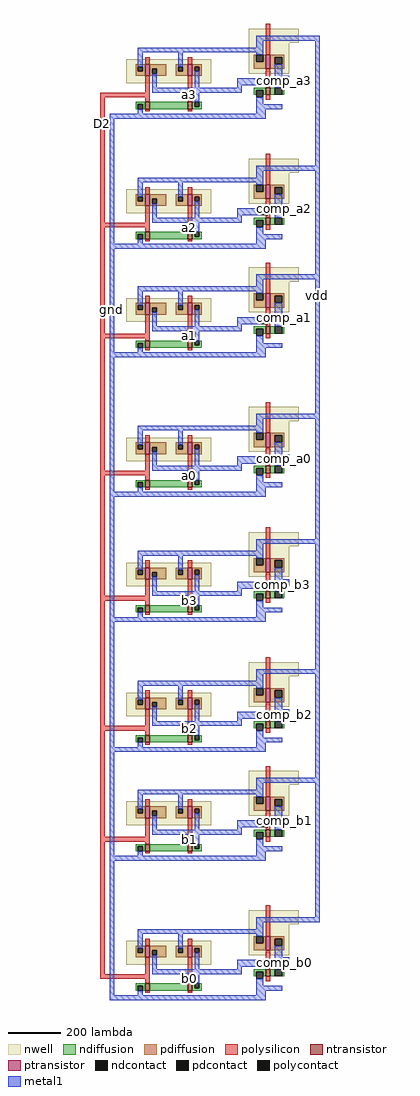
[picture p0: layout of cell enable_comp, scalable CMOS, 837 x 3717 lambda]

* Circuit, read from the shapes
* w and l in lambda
.subckt enable_comp D2 a0 a1 a2 a3 b0 b1 b2 b3 comp_a0 comp_a1 comp_a2 comp_a3 comp_b0 comp_b1 comp_b2 comp_b3 gnd vdd
M1 n1 D2 gnd VSUBS nfet w=27 l=18
M2 n2 D2 gnd VSUBS nfet w=27 l=18
M3 n3 D2 gnd VSUBS nfet w=27 l=18
M4 n4 D2 gnd VSUBS nfet w=27 l=18
M5 n5 D2 gnd VSUBS nfet w=27 l=18
M6 n6 D2 gnd VSUBS nfet w=27 l=18
M7 n7 D2 gnd VSUBS nfet w=27 l=18
M8 n8 D2 gnd VSUBS nfet w=27 l=18
M9 n9 b0 n1 VSUBS nfet w=27 l=18
M10 n10 b1 n2 VSUBS nfet w=27 l=18
M11 n11 b2 n3 VSUBS nfet w=27 l=18
M12 n12 b3 n4 VSUBS nfet w=27 l=18
M13 n13 a0 n5 VSUBS nfet w=27 l=18
M14 n14 a1 n6 VSUBS nfet w=27 l=18
M15 n15 a2 n7 VSUBS nfet w=27 l=18
M16 n16 a3 n8 VSUBS nfet w=27 l=18
M17 comp_b0 n9 gnd VSUBS nfet w=27 l=18
M18 comp_b1 n10 gnd VSUBS nfet w=27 l=18
M19 comp_b2 n11 gnd VSUBS nfet w=27 l=18
M20 comp_b3 n12 gnd VSUBS nfet w=27 l=18
M21 comp_a0 n13 gnd VSUBS nfet w=27 l=18
M22 comp_a1 n14 gnd VSUBS nfet w=27 l=18
M23 comp_a2 n15 gnd VSUBS nfet w=27 l=18
M24 comp_a3 n16 gnd VSUBS nfet w=27 l=18
M25 n9 D2 vdd n17 pfet w=45 l=18
M26 n10 D2 vdd n18 pfet w=45 l=18
M27 n11 D2 vdd n19 pfet w=45 l=18
M28 n12 D2 vdd n20 pfet w=45 l=18
M29 n13 D2 vdd n21 pfet w=45 l=18
M30 n14 D2 vdd n22 pfet w=45 l=18
M31 n15 D2 vdd n23 pfet w=45 l=18
M32 n16 D2 vdd n24 pfet w=45 l=18
M33 n9 b0 vdd n17 pfet w=45 l=18
M34 n10 b1 vdd n18 pfet w=45 l=18
M35 n11 b2 vdd n19 pfet w=45 l=18
M36 n12 b3 vdd n20 pfet w=45 l=18
M37 n13 a0 vdd n21 pfet w=45 l=18
M38 n14 a1 vdd n22 pfet w=45 l=18
M39 n15 a2 vdd n23 pfet w=45 l=18
M40 n16 a3 vdd n24 pfet w=45 l=18
M41 comp_b0 n9 vdd n25 pfet w=54 l=18
M42 comp_b1 n10 vdd n26 pfet w=54 l=18
M43 comp_b2 n11 vdd n27 pfet w=54 l=18
M44 comp_b3 n12 vdd n28 pfet w=54 l=18
M45 comp_a0 n13 vdd n29 pfet w=54 l=18
M46 comp_a1 n14 vdd n30 pfet w=54 l=18
M47 comp_a2 n15 vdd n31 pfet w=54 l=18
M48 comp_a3 n16 vdd n32 pfet w=54 l=18
.ends

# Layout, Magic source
magic
tech scmos
magscale 9 1
<< nwell >>
rect 46 -126 67 -120
rect -6 -143 30 -133
rect 46 -138 63 -126
rect 46 -139 53 -138
rect 55 -139 63 -138
rect 46 -181 67 -175
rect -6 -198 30 -188
rect 46 -193 63 -181
rect 46 -194 53 -193
rect 55 -194 63 -193
rect 46 -227 67 -221
rect -6 -244 30 -234
rect 46 -239 63 -227
rect 46 -240 53 -239
rect 55 -240 63 -239
rect 46 -286 67 -280
rect -6 -303 30 -293
rect 46 -298 63 -286
rect 46 -299 53 -298
rect 55 -299 63 -298
rect 46 -339 67 -333
rect -6 -356 30 -346
rect 46 -351 63 -339
rect 46 -352 53 -351
rect 55 -352 63 -351
rect 46 -394 67 -388
rect -6 -411 30 -401
rect 46 -406 63 -394
rect 46 -407 53 -406
rect 55 -407 63 -406
rect 46 -440 67 -434
rect -6 -457 30 -447
rect 46 -452 63 -440
rect 46 -453 53 -452
rect 55 -453 63 -452
rect 46 -499 67 -493
rect -6 -516 30 -506
rect 46 -511 63 -499
rect 46 -512 53 -511
rect 55 -512 63 -511
<< ntransistor >>
rect 53 -148 55 -145
rect 2 -154 4 -151
rect 20 -154 22 -151
rect 53 -203 55 -200
rect 2 -209 4 -206
rect 20 -209 22 -206
rect 53 -249 55 -246
rect 2 -255 4 -252
rect 20 -255 22 -252
rect 53 -308 55 -305
rect 2 -314 4 -311
rect 20 -314 22 -311
rect 53 -361 55 -358
rect 2 -367 4 -364
rect 20 -367 22 -364
rect 53 -416 55 -413
rect 2 -422 4 -419
rect 20 -422 22 -419
rect 53 -462 55 -459
rect 2 -468 4 -465
rect 20 -468 22 -465
rect 53 -521 55 -518
rect 2 -527 4 -524
rect 20 -527 22 -524
<< ptransistor >>
rect 2 -140 4 -135
rect 20 -140 22 -135
rect 53 -137 55 -131
rect 2 -195 4 -190
rect 20 -195 22 -190
rect 53 -192 55 -186
rect 2 -241 4 -236
rect 20 -241 22 -236
rect 53 -238 55 -232
rect 2 -300 4 -295
rect 20 -300 22 -295
rect 53 -297 55 -291
rect 2 -353 4 -348
rect 20 -353 22 -348
rect 53 -350 55 -344
rect 2 -408 4 -403
rect 20 -408 22 -403
rect 53 -405 55 -399
rect 2 -454 4 -449
rect 20 -454 22 -449
rect 53 -451 55 -445
rect 2 -513 4 -508
rect 20 -513 22 -508
rect 53 -510 55 -504
<< ndiffusion >>
rect 48 -146 53 -145
rect 48 -148 49 -146
rect 52 -148 53 -146
rect 55 -148 57 -145
rect 60 -148 61 -145
rect -2 -152 2 -151
rect -2 -154 -1 -152
rect 1 -154 2 -152
rect 4 -154 20 -151
rect 22 -153 23 -151
rect 25 -153 26 -151
rect 22 -154 26 -153
rect 48 -201 53 -200
rect 48 -203 49 -201
rect 52 -203 53 -201
rect 55 -203 57 -200
rect 60 -203 61 -200
rect -2 -207 2 -206
rect -2 -209 -1 -207
rect 1 -209 2 -207
rect 4 -209 20 -206
rect 22 -208 23 -206
rect 25 -208 26 -206
rect 22 -209 26 -208
rect 48 -247 53 -246
rect 48 -249 49 -247
rect 52 -249 53 -247
rect 55 -249 57 -246
rect 60 -249 61 -246
rect -2 -253 2 -252
rect -2 -255 -1 -253
rect 1 -255 2 -253
rect 4 -255 20 -252
rect 22 -254 23 -252
rect 25 -254 26 -252
rect 22 -255 26 -254
rect 48 -306 53 -305
rect 48 -308 49 -306
rect 52 -308 53 -306
rect 55 -308 57 -305
rect 60 -308 61 -305
rect -2 -312 2 -311
rect -2 -314 -1 -312
rect 1 -314 2 -312
rect 4 -314 20 -311
rect 22 -313 23 -311
rect 25 -313 26 -311
rect 22 -314 26 -313
rect 48 -359 53 -358
rect 48 -361 49 -359
rect 52 -361 53 -359
rect 55 -361 57 -358
rect 60 -361 61 -358
rect -2 -365 2 -364
rect -2 -367 -1 -365
rect 1 -367 2 -365
rect 4 -367 20 -364
rect 22 -366 23 -364
rect 25 -366 26 -364
rect 22 -367 26 -366
rect 48 -414 53 -413
rect 48 -416 49 -414
rect 52 -416 53 -414
rect 55 -416 57 -413
rect 60 -416 61 -413
rect -2 -420 2 -419
rect -2 -422 -1 -420
rect 1 -422 2 -420
rect 4 -422 20 -419
rect 22 -421 23 -419
rect 25 -421 26 -419
rect 22 -422 26 -421
rect 48 -460 53 -459
rect 48 -462 49 -460
rect 52 -462 53 -460
rect 55 -462 57 -459
rect 60 -462 61 -459
rect -2 -466 2 -465
rect -2 -468 -1 -466
rect 1 -468 2 -466
rect 4 -468 20 -465
rect 22 -467 23 -465
rect 25 -467 26 -465
rect 22 -468 26 -467
rect 48 -519 53 -518
rect 48 -521 49 -519
rect 52 -521 53 -519
rect 55 -521 57 -518
rect 60 -521 61 -518
rect -2 -525 2 -524
rect -2 -527 -1 -525
rect 1 -527 2 -525
rect 4 -527 20 -524
rect 22 -526 23 -524
rect 25 -526 26 -524
rect 22 -527 26 -526
<< pdiffusion >>
rect 48 -134 49 -131
rect 52 -134 53 -131
rect -2 -136 2 -135
rect -2 -138 -1 -136
rect 1 -138 2 -136
rect -2 -140 2 -138
rect 4 -137 11 -135
rect 4 -139 5 -137
rect 7 -139 11 -137
rect 4 -140 11 -139
rect 15 -136 20 -135
rect 15 -138 16 -136
rect 18 -138 20 -136
rect 15 -140 20 -138
rect 22 -136 26 -135
rect 22 -138 23 -136
rect 25 -138 26 -136
rect 48 -137 53 -134
rect 55 -132 61 -131
rect 55 -135 57 -132
rect 60 -135 61 -132
rect 55 -137 61 -135
rect 22 -140 26 -138
rect 48 -189 49 -186
rect 52 -189 53 -186
rect -2 -191 2 -190
rect -2 -193 -1 -191
rect 1 -193 2 -191
rect -2 -195 2 -193
rect 4 -192 11 -190
rect 4 -194 5 -192
rect 7 -194 11 -192
rect 4 -195 11 -194
rect 15 -191 20 -190
rect 15 -193 16 -191
rect 18 -193 20 -191
rect 15 -195 20 -193
rect 22 -191 26 -190
rect 22 -193 23 -191
rect 25 -193 26 -191
rect 48 -192 53 -189
rect 55 -187 61 -186
rect 55 -190 57 -187
rect 60 -190 61 -187
rect 55 -192 61 -190
rect 22 -195 26 -193
rect 48 -235 49 -232
rect 52 -235 53 -232
rect -2 -237 2 -236
rect -2 -239 -1 -237
rect 1 -239 2 -237
rect -2 -241 2 -239
rect 4 -238 11 -236
rect 4 -240 5 -238
rect 7 -240 11 -238
rect 4 -241 11 -240
rect 15 -237 20 -236
rect 15 -239 16 -237
rect 18 -239 20 -237
rect 15 -241 20 -239
rect 22 -237 26 -236
rect 22 -239 23 -237
rect 25 -239 26 -237
rect 48 -238 53 -235
rect 55 -233 61 -232
rect 55 -236 57 -233
rect 60 -236 61 -233
rect 55 -238 61 -236
rect 22 -241 26 -239
rect 48 -294 49 -291
rect 52 -294 53 -291
rect -2 -296 2 -295
rect -2 -298 -1 -296
rect 1 -298 2 -296
rect -2 -300 2 -298
rect 4 -297 11 -295
rect 4 -299 5 -297
rect 7 -299 11 -297
rect 4 -300 11 -299
rect 15 -296 20 -295
rect 15 -298 16 -296
rect 18 -298 20 -296
rect 15 -300 20 -298
rect 22 -296 26 -295
rect 22 -298 23 -296
rect 25 -298 26 -296
rect 48 -297 53 -294
rect 55 -292 61 -291
rect 55 -295 57 -292
rect 60 -295 61 -292
rect 55 -297 61 -295
rect 22 -300 26 -298
rect 48 -347 49 -344
rect 52 -347 53 -344
rect -2 -349 2 -348
rect -2 -351 -1 -349
rect 1 -351 2 -349
rect -2 -353 2 -351
rect 4 -350 11 -348
rect 4 -352 5 -350
rect 7 -352 11 -350
rect 4 -353 11 -352
rect 15 -349 20 -348
rect 15 -351 16 -349
rect 18 -351 20 -349
rect 15 -353 20 -351
rect 22 -349 26 -348
rect 22 -351 23 -349
rect 25 -351 26 -349
rect 48 -350 53 -347
rect 55 -345 61 -344
rect 55 -348 57 -345
rect 60 -348 61 -345
rect 55 -350 61 -348
rect 22 -353 26 -351
rect 48 -402 49 -399
rect 52 -402 53 -399
rect -2 -404 2 -403
rect -2 -406 -1 -404
rect 1 -406 2 -404
rect -2 -408 2 -406
rect 4 -405 11 -403
rect 4 -407 5 -405
rect 7 -407 11 -405
rect 4 -408 11 -407
rect 15 -404 20 -403
rect 15 -406 16 -404
rect 18 -406 20 -404
rect 15 -408 20 -406
rect 22 -404 26 -403
rect 22 -406 23 -404
rect 25 -406 26 -404
rect 48 -405 53 -402
rect 55 -400 61 -399
rect 55 -403 57 -400
rect 60 -403 61 -400
rect 55 -405 61 -403
rect 22 -408 26 -406
rect 48 -448 49 -445
rect 52 -448 53 -445
rect -2 -450 2 -449
rect -2 -452 -1 -450
rect 1 -452 2 -450
rect -2 -454 2 -452
rect 4 -451 11 -449
rect 4 -453 5 -451
rect 7 -453 11 -451
rect 4 -454 11 -453
rect 15 -450 20 -449
rect 15 -452 16 -450
rect 18 -452 20 -450
rect 15 -454 20 -452
rect 22 -450 26 -449
rect 22 -452 23 -450
rect 25 -452 26 -450
rect 48 -451 53 -448
rect 55 -446 61 -445
rect 55 -449 57 -446
rect 60 -449 61 -446
rect 55 -451 61 -449
rect 22 -454 26 -452
rect 48 -507 49 -504
rect 52 -507 53 -504
rect -2 -509 2 -508
rect -2 -511 -1 -509
rect 1 -511 2 -509
rect -2 -513 2 -511
rect 4 -510 11 -508
rect 4 -512 5 -510
rect 7 -512 11 -510
rect 4 -513 11 -512
rect 15 -509 20 -508
rect 15 -511 16 -509
rect 18 -511 20 -509
rect 15 -513 20 -511
rect 22 -509 26 -508
rect 22 -511 23 -509
rect 25 -511 26 -509
rect 48 -510 53 -507
rect 55 -505 61 -504
rect 55 -508 57 -505
rect 60 -508 61 -505
rect 55 -510 61 -508
rect 22 -513 26 -511
<< ndcontact >>
rect 49 -149 52 -146
rect 57 -148 60 -145
rect -1 -154 1 -152
rect 23 -153 25 -151
rect 49 -204 52 -201
rect 57 -203 60 -200
rect -1 -209 1 -207
rect 23 -208 25 -206
rect 49 -250 52 -247
rect 57 -249 60 -246
rect -1 -255 1 -253
rect 23 -254 25 -252
rect 49 -309 52 -306
rect 57 -308 60 -305
rect -1 -314 1 -312
rect 23 -313 25 -311
rect 49 -362 52 -359
rect 57 -361 60 -358
rect -1 -367 1 -365
rect 23 -366 25 -364
rect 49 -417 52 -414
rect 57 -416 60 -413
rect -1 -422 1 -420
rect 23 -421 25 -419
rect 49 -463 52 -460
rect 57 -462 60 -459
rect -1 -468 1 -466
rect 23 -467 25 -465
rect 49 -522 52 -519
rect 57 -521 60 -518
rect -1 -527 1 -525
rect 23 -526 25 -524
<< pdcontact >>
rect 49 -134 52 -131
rect -1 -138 1 -136
rect 5 -139 7 -137
rect 16 -138 18 -136
rect 23 -138 25 -136
rect 57 -135 60 -132
rect 49 -189 52 -186
rect -1 -193 1 -191
rect 5 -194 7 -192
rect 16 -193 18 -191
rect 23 -193 25 -191
rect 57 -190 60 -187
rect 49 -235 52 -232
rect -1 -239 1 -237
rect 5 -240 7 -238
rect 16 -239 18 -237
rect 23 -239 25 -237
rect 57 -236 60 -233
rect 49 -294 52 -291
rect -1 -298 1 -296
rect 5 -299 7 -297
rect 16 -298 18 -296
rect 23 -298 25 -296
rect 57 -295 60 -292
rect 49 -347 52 -344
rect -1 -351 1 -349
rect 5 -352 7 -350
rect 16 -351 18 -349
rect 23 -351 25 -349
rect 57 -348 60 -345
rect 49 -402 52 -399
rect -1 -406 1 -404
rect 5 -407 7 -405
rect 16 -406 18 -404
rect 23 -406 25 -404
rect 57 -403 60 -400
rect 49 -448 52 -445
rect -1 -452 1 -450
rect 5 -453 7 -451
rect 16 -452 18 -450
rect 23 -452 25 -450
rect 57 -449 60 -446
rect 49 -507 52 -504
rect -1 -511 1 -509
rect 5 -512 7 -510
rect 16 -511 18 -509
rect 23 -511 25 -509
rect 57 -508 60 -505
<< polysilicon >>
rect 53 -131 55 -118
rect 2 -135 4 -132
rect 20 -135 22 -132
rect 2 -147 4 -140
rect -17 -149 4 -147
rect -17 -202 -15 -149
rect 2 -151 4 -149
rect 20 -151 22 -140
rect 53 -141 55 -137
rect 54 -144 55 -141
rect 53 -145 55 -144
rect 53 -150 55 -148
rect 2 -155 4 -154
rect 20 -155 22 -154
rect 53 -186 55 -173
rect 2 -190 4 -187
rect 20 -190 22 -187
rect 2 -202 4 -195
rect -17 -204 4 -202
rect -17 -249 -15 -204
rect 2 -206 4 -204
rect 20 -206 22 -195
rect 53 -196 55 -192
rect 54 -199 55 -196
rect 53 -200 55 -199
rect 53 -205 55 -203
rect 2 -210 4 -209
rect 20 -210 22 -209
rect 53 -232 55 -219
rect 2 -236 4 -233
rect 20 -236 22 -233
rect 2 -249 4 -241
rect -17 -251 4 -249
rect -17 -307 -15 -251
rect 2 -252 4 -251
rect 20 -252 22 -241
rect 53 -242 55 -238
rect 54 -245 55 -242
rect 53 -246 55 -245
rect 53 -251 55 -249
rect 2 -256 4 -255
rect 20 -256 22 -255
rect 53 -291 55 -278
rect 2 -295 4 -292
rect 20 -295 22 -292
rect 2 -307 4 -300
rect -17 -309 4 -307
rect -17 -360 -15 -309
rect 2 -311 4 -309
rect 20 -311 22 -300
rect 53 -301 55 -297
rect 54 -304 55 -301
rect 53 -305 55 -304
rect 53 -310 55 -308
rect 2 -315 4 -314
rect 20 -315 22 -314
rect 53 -344 55 -331
rect 2 -348 4 -345
rect 20 -348 22 -345
rect 2 -360 4 -353
rect -17 -362 4 -360
rect -17 -415 -15 -362
rect 2 -364 4 -362
rect 20 -364 22 -353
rect 53 -354 55 -350
rect 54 -357 55 -354
rect 53 -358 55 -357
rect 53 -363 55 -361
rect 2 -368 4 -367
rect 20 -368 22 -367
rect 53 -399 55 -386
rect 2 -403 4 -400
rect 20 -403 22 -400
rect 2 -415 4 -408
rect -17 -417 4 -415
rect -17 -462 -15 -417
rect 2 -419 4 -417
rect 20 -419 22 -408
rect 53 -409 55 -405
rect 54 -412 55 -409
rect 53 -413 55 -412
rect 53 -418 55 -416
rect 2 -423 4 -422
rect 20 -423 22 -422
rect 53 -445 55 -432
rect 2 -449 4 -446
rect 20 -449 22 -446
rect 2 -462 4 -454
rect -17 -464 4 -462
rect -17 -520 -15 -464
rect 2 -465 4 -464
rect 20 -465 22 -454
rect 53 -455 55 -451
rect 54 -458 55 -455
rect 53 -459 55 -458
rect 53 -464 55 -462
rect 2 -469 4 -468
rect 20 -469 22 -468
rect 53 -504 55 -491
rect 2 -508 4 -505
rect 20 -508 22 -505
rect 2 -520 4 -513
rect -17 -522 4 -520
rect 2 -524 4 -522
rect 20 -524 22 -513
rect 53 -514 55 -510
rect 54 -517 55 -514
rect 53 -518 55 -517
rect 53 -523 55 -521
rect 2 -528 4 -527
rect 20 -528 22 -527
<< polycontact >>
rect 51 -144 54 -141
rect 51 -199 54 -196
rect 51 -245 54 -242
rect 51 -304 54 -301
rect 51 -357 54 -354
rect 51 -412 54 -409
rect 51 -458 54 -455
rect 51 -517 54 -514
<< metal1 >>
rect 49 -125 76 -123
rect 49 -128 52 -125
rect -1 -130 52 -128
rect -1 -136 1 -130
rect 16 -136 18 -130
rect 49 -131 52 -130
rect 5 -145 7 -139
rect 23 -145 25 -138
rect 57 -140 60 -135
rect 41 -144 51 -141
rect 57 -143 63 -140
rect 41 -145 43 -144
rect 5 -147 43 -145
rect 57 -145 60 -143
rect 23 -151 25 -147
rect 49 -152 52 -149
rect -1 -156 1 -154
rect 49 -154 60 -152
rect 49 -156 53 -154
rect -13 -158 53 -156
rect -13 -211 -11 -158
rect 74 -178 76 -125
rect 49 -180 76 -178
rect 49 -183 52 -180
rect -1 -185 52 -183
rect -1 -191 1 -185
rect 16 -191 18 -185
rect 49 -186 52 -185
rect 5 -200 7 -194
rect 23 -200 25 -193
rect 57 -195 60 -190
rect 41 -199 51 -196
rect 57 -198 63 -195
rect 41 -200 43 -199
rect 5 -202 43 -200
rect 57 -200 60 -198
rect 23 -206 25 -202
rect 49 -207 52 -204
rect -1 -211 1 -209
rect 49 -209 60 -207
rect 49 -211 53 -209
rect -13 -213 53 -211
rect -13 -257 -11 -213
rect 74 -224 76 -180
rect 49 -226 76 -224
rect 49 -229 52 -226
rect -1 -231 52 -229
rect -1 -237 1 -231
rect 16 -237 18 -231
rect 49 -232 52 -231
rect 5 -246 7 -240
rect 23 -246 25 -239
rect 57 -241 60 -236
rect 41 -245 51 -242
rect 57 -244 63 -241
rect 41 -246 43 -245
rect 5 -248 43 -246
rect 57 -246 60 -244
rect 23 -252 25 -248
rect 49 -253 52 -250
rect -1 -257 1 -255
rect 49 -255 60 -253
rect 49 -257 53 -255
rect -13 -259 53 -257
rect -13 -316 -11 -259
rect 74 -283 76 -226
rect 49 -285 76 -283
rect 49 -288 52 -285
rect -1 -290 52 -288
rect -1 -296 1 -290
rect 16 -296 18 -290
rect 49 -291 52 -290
rect 5 -305 7 -299
rect 23 -305 25 -298
rect 57 -300 60 -295
rect 41 -304 51 -301
rect 57 -303 63 -300
rect 41 -305 43 -304
rect 5 -307 43 -305
rect 57 -305 60 -303
rect 23 -311 25 -307
rect 49 -312 52 -309
rect -1 -316 1 -314
rect 49 -314 60 -312
rect 49 -316 53 -314
rect -13 -318 53 -316
rect -13 -369 -11 -318
rect 74 -336 76 -285
rect 49 -338 76 -336
rect 49 -341 52 -338
rect -1 -343 52 -341
rect -1 -349 1 -343
rect 16 -349 18 -343
rect 49 -344 52 -343
rect 5 -358 7 -352
rect 23 -358 25 -351
rect 57 -353 60 -348
rect 41 -357 51 -354
rect 57 -356 63 -353
rect 41 -358 43 -357
rect 5 -360 43 -358
rect 57 -358 60 -356
rect 23 -364 25 -360
rect 49 -365 52 -362
rect -1 -369 1 -367
rect 49 -367 60 -365
rect 49 -369 53 -367
rect -13 -371 53 -369
rect -13 -424 -11 -371
rect 74 -391 76 -338
rect 49 -393 76 -391
rect 49 -396 52 -393
rect -1 -398 52 -396
rect -1 -404 1 -398
rect 16 -404 18 -398
rect 49 -399 52 -398
rect 5 -413 7 -407
rect 23 -413 25 -406
rect 57 -408 60 -403
rect 41 -412 51 -409
rect 57 -411 63 -408
rect 41 -413 43 -412
rect 5 -415 43 -413
rect 57 -413 60 -411
rect 23 -419 25 -415
rect 49 -420 52 -417
rect -1 -424 1 -422
rect 49 -422 60 -420
rect 49 -424 53 -422
rect -13 -426 53 -424
rect -13 -470 -11 -426
rect 74 -437 76 -393
rect 49 -439 76 -437
rect 49 -442 52 -439
rect -1 -444 52 -442
rect -1 -450 1 -444
rect 16 -450 18 -444
rect 49 -445 52 -444
rect 5 -459 7 -453
rect 23 -459 25 -452
rect 57 -454 60 -449
rect 41 -458 51 -455
rect 57 -457 63 -454
rect 41 -459 43 -458
rect 5 -461 43 -459
rect 57 -459 60 -457
rect 23 -465 25 -461
rect 49 -466 52 -463
rect -1 -470 1 -468
rect 49 -468 60 -466
rect 49 -470 53 -468
rect -13 -472 53 -470
rect -13 -529 -11 -472
rect 74 -496 76 -439
rect 49 -498 76 -496
rect 49 -501 52 -498
rect -1 -503 52 -501
rect -1 -509 1 -503
rect 16 -509 18 -503
rect 49 -504 52 -503
rect 5 -518 7 -512
rect 23 -518 25 -511
rect 57 -513 60 -508
rect 41 -517 51 -514
rect 57 -516 63 -513
rect 41 -518 43 -517
rect 5 -520 43 -518
rect 57 -518 60 -516
rect 23 -524 25 -520
rect 49 -525 52 -522
rect -1 -529 1 -527
rect 49 -527 60 -525
rect 49 -529 53 -527
rect -13 -531 53 -529
<< labels >>
rlabel polysilicon -16 -160 -16 -160 3 D2
rlabel polysilicon 21 -148 21 -148 1 a3
rlabel metal1 61 -142 61 -142 1 comp_a3
rlabel polysilicon 21 -204 21 -204 1 a2
rlabel metal1 61 -196 61 -196 1 comp_a2
rlabel polysilicon 21 -250 21 -250 1 a1
rlabel metal1 61 -242 61 -242 1 comp_a1
rlabel polysilicon 21 -309 21 -309 1 a0
rlabel metal1 61 -302 61 -302 1 comp_a0
rlabel polysilicon 21 -362 21 -362 1 b3
rlabel metal1 60 -355 60 -355 1 comp_b3
rlabel polysilicon 21 -416 21 -416 1 b2
rlabel metal1 61 -410 61 -410 1 comp_b2
rlabel polysilicon 21 -463 21 -463 1 b1
rlabel metal1 61 -455 61 -455 1 comp_b1
rlabel polysilicon 21 -522 21 -522 1 b0
rlabel metal1 61 -515 61 -515 1 comp_b0
rlabel metal1 75 -233 75 -233 7 vdd
rlabel metal1 -12 -239 -12 -239 3 gnd
<< end >>
